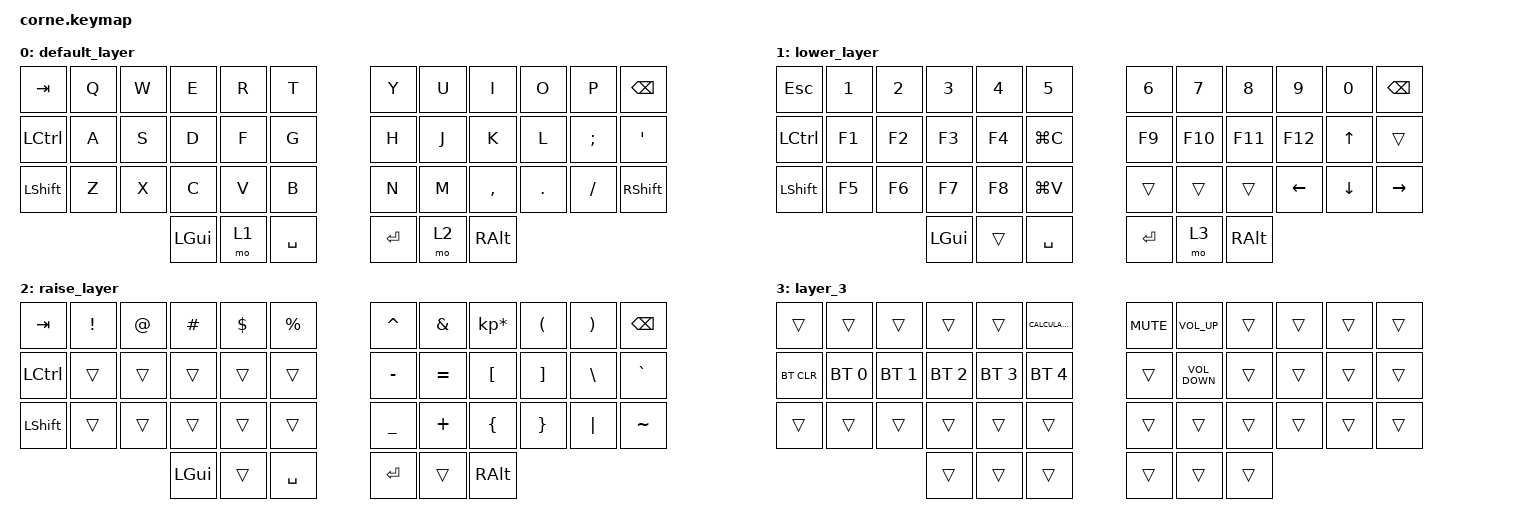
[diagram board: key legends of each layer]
/*
 * Copyright (c) 2020 The ZMK Contributors
 *
 * SPDX-License-Identifier: MIT
 */

#include <behaviors.dtsi>
#include <dt-bindings/zmk/bt.h>
#include <dt-bindings/zmk/keys.h>

/ {
    macros {
        copy: copy {
            compatible = "zmk,behavior-macro";
            #binding-cells = <0>;
            bindings = <&kp LEFT_GUI &kp C>;
            label = "COPY";
        };

        paste: paste {
            compatible = "zmk,behavior-macro";
            #binding-cells = <0>;
            bindings = <&kp LEFT_GUI &kp V>;
            label = "PASTE";
        };
    };

    keymap {
        compatible = "zmk,keymap";

        default_layer {
            // -----------------------------------------------------------------------------------------
            // |  TAB |  Q  |  W  |  E  |  R  |  T  |   |  Y  |  U   |  I  |  O  |  P  | BKSP |
            // | CTRL |  A  |  S  |  D  |  F  |  G  |   |  H  |  J   |  K  |  L  |  ;  |  '   |
            // | SHFT |  Z  |  X  |  C  |  V  |  B  |   |  N  |  M   |  ,  |  .  |  /  | ESC  |
            //                    | GUI | LWR | SPC |   | ENT | RSE  | ALT |

            bindings = <
&kp TAB    &kp Q  &kp W  &kp E     &kp R  &kp T        &kp Y    &kp U  &kp I      &kp O    &kp P     &kp BSPC
&kp LCTRL  &kp A  &kp S  &kp D     &kp F  &kp G        &kp H    &kp J  &kp K      &kp L    &kp SEMI  &kp SQT
&kp LSHFT  &kp Z  &kp X  &kp C     &kp V  &kp B        &kp N    &kp M  &kp COMMA  &kp DOT  &kp FSLH  &kp RIGHT_SHIFT
                         &kp LGUI  &mo 1  &kp SPACE    &kp RET  &mo 2  &kp RALT
            >;
        };

        lower_layer {
            // -----------------------------------------------------------------------------------------
            // |  TAB |  1  |  2  |  3  |  4  |  5  |   |  6  |  7  |  8  |  9  |  0  | BKSP |
            // | BTCLR| BT1 | BT2 | BT3 | BT4 | BT5 |   | LFT | DWN |  UP | RGT |     |      |
            // | SHFT |     |     |     |     |     |   |     |     |     |     |     |      |
            //                    | GUI |     | SPC |   | ENT |     | ALT |

            bindings = <
&kp ESCAPE  &kp N1  &kp N2  &kp N3    &kp N4  &kp N5     &kp N6   &kp N7   &kp N8    &kp N9          &kp N0          &kp BSPC
&kp LCTRL   &kp F1  &kp F2  &kp F3    &kp F4  &kp LG(C)  &kp F9   &kp F10  &kp F11   &kp F12         &kp UP_ARROW    &trans
&kp LSHFT   &kp F5  &kp F6  &kp F7    &kp F8  &kp LG(V)  &trans   &trans   &trans    &kp LEFT_ARROW  &kp DOWN_ARROW  &kp RIGHT_ARROW
                            &kp LGUI  &trans  &kp SPACE  &kp RET  &mo 3    &kp RALT
            >;
        };

        raise_layer {
            // -----------------------------------------------------------------------------------------
            // |  TAB |  !  |  @  |  #  |  $  |  %  |   |  ^  |  &  |  *  |  (  |  )  | BKSP |
            // | CTRL |     |     |     |     |     |   |  -  |  =  |  [  |  ]  |  \  |  `   |
            // | SHFT |     |     |     |     |     |   |  _  |  +  |  {  |  }  | "|" |  ~   |
            //                    | GUI |     | SPC |   | ENT |     | ALT |

            bindings = <
&kp TAB    &kp EXCL  &kp AT  &kp HASH  &kp DLLR  &kp PRCNT    &kp CARET  &kp AMPS   &kp KP_MULTIPLY  &kp LPAR  &kp RPAR  &kp BSPC
&kp LCTRL  &trans    &trans  &trans    &trans    &trans       &kp MINUS  &kp EQUAL  &kp LBKT         &kp RBKT  &kp BSLH  &kp GRAVE
&kp LSHFT  &trans    &trans  &trans    &trans    &trans       &kp UNDER  &kp PLUS   &kp LBRC         &kp RBRC  &kp PIPE  &kp TILDE
                             &kp LGUI  &trans    &kp SPACE    &kp RET    &trans     &kp RALT
            >;
        };

        layer_3 {
            bindings = <
&trans      &trans        &trans        &trans        &trans        &kp K_CALCULATOR    &kp K_MUTE  &kp C_VOLUME_UP    &trans  &trans  &trans  &trans
&bt BT_CLR  &bt BT_SEL 0  &bt BT_SEL 1  &bt BT_SEL 2  &bt BT_SEL 3  &bt BT_SEL 4        &trans      &kp C_VOLUME_DOWN  &trans  &trans  &trans  &trans
&trans      &trans        &trans        &trans        &trans        &trans              &trans      &trans             &trans  &trans  &trans  &trans
                                        &trans        &trans        &trans              &trans      &trans             &trans
            >;
        };
    };
};
